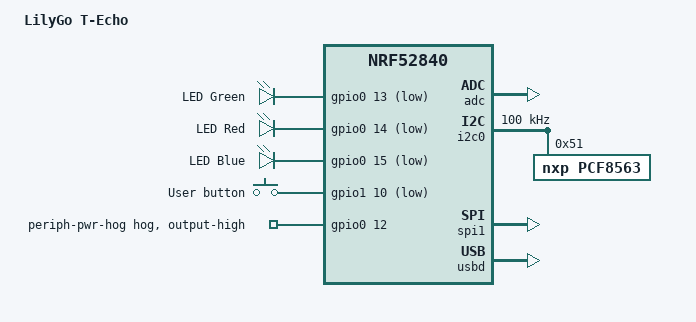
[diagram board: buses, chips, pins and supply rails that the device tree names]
/*
 * SPDX-License-Identifier: GPL-3.0-or-later
 * SPDX-FileCopyrightText: The contributors to the LICHEN project
 *
 * LilyGo T-Echo V1 — nRF52840 + SX1262 + GDEW0154M10 e-ink + L76K GPS
 *
 * Pin assignments sourced from LilyGo schematics and cross-checked
 * against the Meshtastic firmware (variants/nrf52840/t-echo/variant.h).
 */

/dts-v1/;
#include <nordic/nrf52840_qiaa.dtsi>
#include <zephyr/dt-bindings/lora/sx126x.h>
#include <zephyr/dt-bindings/input/input-event-codes.h>
#include "t_echo-pinctrl.dtsi"

/ {
	model = "LilyGo T-Echo";
	compatible = "lilygo,t-echo";

	chosen {
		zephyr,sram             = &sram0;
		zephyr,flash            = &flash0;
		zephyr,code-partition   = &slot0_partition;
	};

	/*
	 * Three indicator LEDs — all active-low.
	 * Meshtastic colour assignments: led0=green (P0.13), led1=red (P0.14),
	 * led2=blue (P0.15).  Note: colour markings in the V1 schematic and the
	 * Meshtastic source disagree slightly; treat these as best-effort.
	 */
	leds {
		compatible = "gpio-leds";
		led0: led_0 {
			gpios = <&gpio0 13 GPIO_ACTIVE_LOW>;
			label = "LED Green";
		};
		led1: led_1 {
			gpios = <&gpio0 14 GPIO_ACTIVE_LOW>;
			label = "LED Red";
		};
		led2: led_2 {
			gpios = <&gpio0 15 GPIO_ACTIVE_LOW>;
			label = "LED Blue";
		};
	};

	buttons {
		compatible = "gpio-keys";
		button0: button_0 {
			gpios = <&gpio1 10 (GPIO_PULL_UP | GPIO_ACTIVE_LOW)>;
			label = "User button";
			zephyr,code = <INPUT_KEY_0>;
		};
	};

	aliases {
		led0      = &led0;
		led1      = &led1;
		led2      = &led2;
		sw0       = &button0;
		lora0     = &lora;
		watchdog0 = &wdt0;
	};
};

&uicr {
	gpio-as-nreset;
};

&gpiote {
	status = "okay";
};

/*
 * P0.12 enables the peripheral power rail (SX1262 + GPS + e-ink + sensor).
 * The gpio-hog asserts it high at GPIO driver init before any app code runs.
 */
&gpio0 {
	status = "okay";
	periph-pwr-hog {
		gpio-hog;
		gpios = <12 GPIO_ACTIVE_HIGH>;
		output-high;
	};
};

&gpio1 {
	status = "okay";
};

&adc {
	status = "okay";
};

/* PCF8563 real-time clock on I2C0 (SDA=P0.26, SCL=P0.27) */
&i2c0 {
	compatible = "nordic,nrf-twim";
	status = "okay";
	clock-frequency = <I2C_BITRATE_STANDARD>;
	pinctrl-0 = <&i2c0_default>;
	pinctrl-1 = <&i2c0_sleep>;
	pinctrl-names = "default", "sleep";

	pcf8563: pcf8563@51 {
		compatible = "nxp,pcf8563";
		reg = <0x51>;
		status = "okay";
	};
};

/*
 * SX1262 LoRa radio on SPI1.
 *   CS=P0.24  RESET=P0.25  BUSY=P0.17  DIO1=P0.20
 *   DIO2 drives the internal RF TX/RX switch (dio2-tx-enable).
 *   DIO3 supplies the TCXO at 1.8 V.
 *
 * Node is left disabled here; enable via app overlay (status = "okay")
 * and set zephyr,lora = &lora0 in chosen.
 */
&spi1 {
	compatible = "nordic,nrf-spim";
	status = "okay";
	cs-gpios = <&gpio0 24 GPIO_ACTIVE_LOW>;
	pinctrl-0 = <&spi1_default>;
	pinctrl-1 = <&spi1_sleep>;
	pinctrl-names = "default", "sleep";

	lora: lora@0 {
		compatible = "semtech,sx1262";
		reg = <0>;
		status = "disabled";
		reset-gpios          = <&gpio0 25 GPIO_ACTIVE_LOW>;
		busy-gpios           = <&gpio0 17 GPIO_ACTIVE_HIGH>;
		dio1-gpios           = <&gpio0 20 GPIO_ACTIVE_HIGH>;
		dio2-tx-enable;
		dio3-tcxo-voltage    = <SX126X_DIO3_TCXO_1V8>;
		tcxo-power-startup-delay-ms = <5>;
		/* 1 MHz (from 8 MHz): conservative SPI clock — reduces the nRF52840
		 * USB/SPIM EasyDMA contention that wedges a transfer. */
		spi-max-frequency    = <1000000>;
	};
};

/*
 * GDEW0154M10 e-ink display on SPI2 — disabled by default.
 * Enable via app overlay for applications that use the display.
 * Follows t_deck/heltec patterns exactly (chosen zephyr,display + status
 * = "okay" in overlay). Node label mimics tdeck_display style
 * (t_echo_display).
 */
&spi2 {
	compatible = "nordic,nrf-spim";
	status = "disabled";
	#address-cells = <1>;
	#size-cells = <0>;
	cs-gpios = <&gpio0 30 GPIO_ACTIVE_LOW>;
	pinctrl-0 = <&spi2_default>;
	pinctrl-1 = <&spi2_sleep>;
	pinctrl-names = "default", "sleep";

		t_echo_display: uc8176@0 {
		compatible = "ultrachip,uc8176";
		reg = <0>;
		status = "disabled";
		dc-gpios = <&gpio0 28 GPIO_ACTIVE_HIGH>;
		reset-gpios = <&gpio0 2 GPIO_ACTIVE_LOW>;
		busy-gpios = <&gpio0 3 GPIO_ACTIVE_HIGH>;
		/* EINK_EN on P1.11 powers the panel; mapped via power-gpios */
		power-gpios = <&gpio1 11 GPIO_ACTIVE_HIGH>;
		/* 2 MHz (conservative like LoRa SPI): avoids nRF52840 USB/SPIM
		 * EasyDMA contention per bring-up notes. E-ink traffic is low
		 * bandwidth; matches RadioLib and codereview P4 opinion. */
		spi-max-frequency = <2000000>;
		width = <152>;
		height = <152>;
		rotation = <0>;
	};

};

/*
 * L76K GPS on UART1 (9600 baud) — disabled by default.
 * Enable in app overlay for applications that use GPS.
 */
&uart1 {
	compatible = "nordic,nrf-uarte";
	status = "disabled";
	current-speed = <9600>;
	pinctrl-0 = <&uart1_default>;
	pinctrl-1 = <&uart1_sleep>;
	pinctrl-names = "default", "sleep";
};

/* nRF52840 native USB — available for CDC-ACM console or SLIP bridging */
zephyr_udc0: &usbd {
	compatible = "nordic,nrf-usbd";
	status = "okay";
};

&flash0 {
	partitions {
		compatible = "fixed-partitions";
		#address-cells = <1>;
		#size-cells = <1>;

		/*
		 * Adafruit nRF52840 bootloader + SoftDevice S140 v6.1.1:
		 *   0x0000–0x25FFF MBR + SoftDevice S140 (152 KB total)
		 *   0x26000        APP_START_ADDR — first writable address
		 *                  (confirmed empirically: serial DFU writes here)
		 *
		 * MCUboot occupies the first 48 KB above APP_START_ADDR.
		 */
		boot_partition: partition@26000 {
			label = "mcuboot";
			reg = <0x00026000 0x0000C000>;
		};
		/* Application slot 0 (356 KB) */
		slot0_partition: partition@32000 {
			label = "image-0";
			reg = <0x00032000 0x00059000>;
		};
		/* Application slot 1 (356 KB) — SMP OTA staging */
		slot1_partition: partition@8b000 {
			label = "image-1";
			reg = <0x0008b000 0x00059000>;
		};
		/* NVS / LittleFS storage (16 KB) */
		storage_partition: partition@e4000 {
			label = "storage";
			reg = <0x000e4000 0x00004000>;
		};
	};
};
